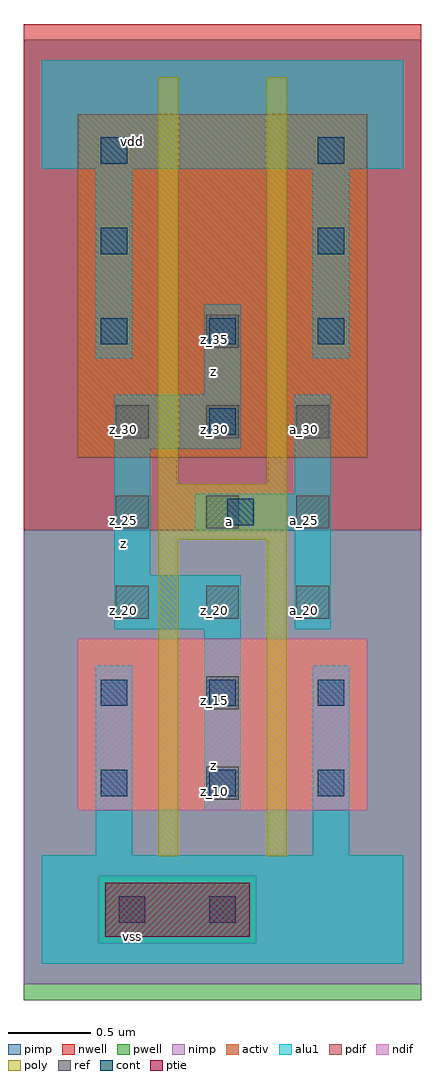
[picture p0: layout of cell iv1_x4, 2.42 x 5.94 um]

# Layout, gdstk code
import gdstk
lib = gdstk.Library(unit=1e-6, precision=2.5e-09)
def R(c, l, rs):  # rectangles x0, y0, x1, y1
    for r in rs: c.add(gdstk.rectangle(r[:2], r[2:], *l))
def A(c, l, x, y, w, h, nx, ny, dx, dy):  # array of equal rectangles
    R(c, l, [(x+i*dx, y+j*dy, x+i*dx+w, y+j*dy+h) for i in range(nx) for j in range(ny)])
ndif = (3, 0)
pdif = (4, 0)
ptie = (6, 0)
ref = (24, 0)
cont = (25, 0)
pwell = (41, 0)
nwell = (42, 0)
activ = (43, 0)
pimp = (44, 0)
nimp = (45, 0)
poly = (46, 0)
alu1 = (49, 0)

iv1_x4 = lib.new_cell('iv1_x4')
R(iv1_x4, ndif, [(0.22,0.935,1.98,1.98)])
R(iv1_x4, pdif, [(0.22,3.08,1.98,5.17)])
R(iv1_x4, ptie, [(0.385,0.165,1.265,0.495)])
A(iv1_x4, ref, 0.45, 2.1, 0.2, 0.2, 3, 3, 0.55, 0.55)
R(iv1_x4, ref, [(1,1,1.2,1.2), (1,1.55,1.2,1.75), (1,3.75,1.2,3.95)])
A(iv1_x4, cont, 0.36, 1.02, 0.16, 0.16, 3, 2, 0.66, 0.55)
A(iv1_x4, cont, 0.36, 3.77, 0.16, 0.16, 3, 1, 0.66, 0)
R(iv1_x4, cont, [(0.47,0.25,0.63,0.41), (1.02,0.25,1.18,0.41), (1.13,2.67,1.29,2.83), (1.02,3.22,1.18,3.38), (0.36,4.32,0.52,4.48), (1.68,4.32,1.84,4.48), (0.36,4.87,0.52,5.03), (1.68,4.87,1.84,5.03)])
R(iv1_x4, pwell, [(-0.11,-0.22,2.31,2.64)])
R(iv1_x4, nwell, [(-0.11,2.64,2.31,5.72)])
R(iv1_x4, activ, [(0.385,0.165,1.265,0.495), (0.22,0.935,1.98,1.98), (0.22,3.08,1.98,5.17)])
R(iv1_x4, pimp, [(0.345,0.125,1.305,0.535), (-0.11,2.64,2.31,5.625)])
R(iv1_x4, nimp, [(-0.11,-0.125,2.31,0.125), (-0.11,0.125,0.345,0.535), (1.305,0.125,2.31,0.535), (-0.11,0.535,2.31,2.64)])
R(iv1_x4, poly, [(0.71,0.655,0.83,2.58), (1.37,0.655,1.49,2.58), (0.71,2.58,1.49,2.92), (0.71,2.92,0.83,5.395), (1.37,2.92,1.49,5.395)])
R(iv1_x4, alu1, [(0,0,2.2,0.66), (0.33,0.66,0.55,1.815), (1.65,0.66,1.87,1.815), (0.99,0.935,1.21,2.035), (0.44,2.035,1.21,2.365), (1.54,2.035,1.76,2.64), (0.44,2.365,0.66,3.135), (0.935,2.64,1.76,2.86), (1.54,2.86,1.76,3.465), (0.44,3.135,1.21,3.465), (0.99,3.465,1.21,4.015), (0.33,3.685,0.55,4.84), (1.65,3.685,1.87,4.84), (0,4.84,2.2,5.5)])
iv1_x4.add(gdstk.Label('vss', (0.55,0.165), layer=49, texttype=0))
iv1_x4.add(gdstk.Label('z', (1.045,1.21), layer=49, texttype=0))
iv1_x4.add(gdstk.Label('a', (1.14,2.695), layer=49, texttype=0))
iv1_x4.add(gdstk.Label('z', (0.495,2.5575), layer=49, texttype=0))
iv1_x4.add(gdstk.Label('z', (1.045,3.6025), layer=49, texttype=0))
iv1_x4.add(gdstk.Label('vdd', (0.55,5.005), layer=49, texttype=0))
iv1_x4.add(gdstk.Label('a_30', (1.6,3.25), layer=24, texttype=0))
iv1_x4.add(gdstk.Label('a_20', (1.6,2.15), layer=24, texttype=0))
iv1_x4.add(gdstk.Label('a_25', (1.05,2.7), layer=24, texttype=0))
iv1_x4.add(gdstk.Label('z_35', (1.05,3.8), layer=24, texttype=0))
iv1_x4.add(gdstk.Label('z_30', (0.5,3.25), layer=24, texttype=0))
iv1_x4.add(gdstk.Label('z_20', (0.5,2.15), layer=24, texttype=0))
iv1_x4.add(gdstk.Label('z_20', (1.05,2.15), layer=24, texttype=0))
iv1_x4.add(gdstk.Label('z_15', (1.05,1.6), layer=24, texttype=0))
iv1_x4.add(gdstk.Label('z_30', (1.05,3.25), layer=24, texttype=0))
iv1_x4.add(gdstk.Label('z_25', (0.5,2.7), layer=24, texttype=0))
iv1_x4.add(gdstk.Label('a_25', (1.6,2.7), layer=24, texttype=0))
iv1_x4.add(gdstk.Label('z_10', (1.05,1.05), layer=24, texttype=0))

lib.write_gds('iv1_x4.gds')
